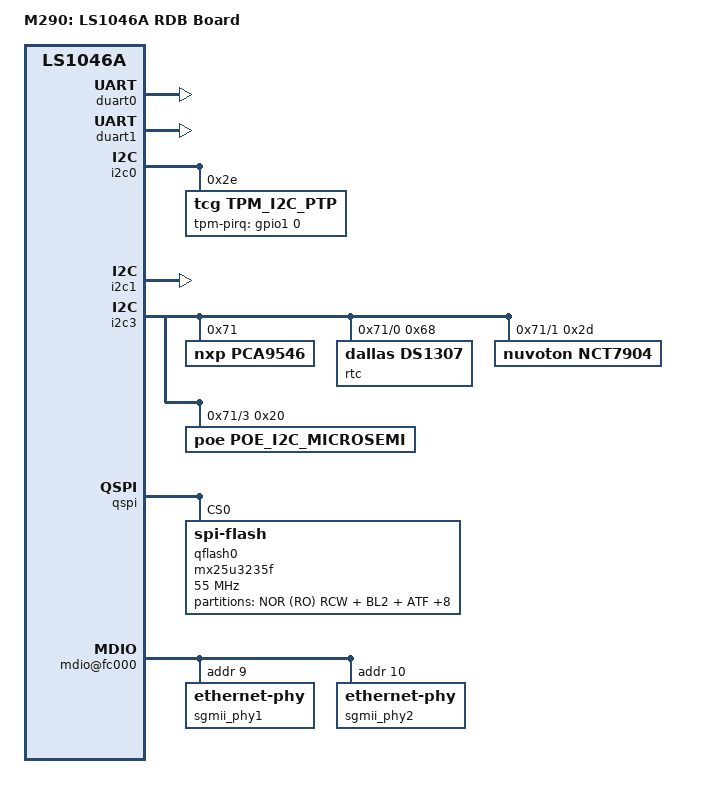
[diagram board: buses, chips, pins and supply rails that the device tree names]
// SPDX-License-Identifier: (GPL-2.0+ OR MIT)
/*
 * Device Tree Include file for Freescale Layerscape-1046A family SoC.
 *
 * Copyright 2016 Freescale Semiconductor, Inc.
 *
 * Mingkai Hu <mingkai.hu@nxp.com>
 */

/dts-v1/;

#include "fsl-ls1046a.dtsi"

/ {
	model = "M290: LS1046A RDB Board";
	compatible = "fsl,ls1046a-rdb", "fsl,ls1046a";

	aliases {
		serial0 = &duart0;
		serial1 = &duart1;
		serial2 = &duart2;
		serial3 = &duart3;
		spi0 = &qspi;
	};

	chosen {
		stdout-path = "serial0:115200n8";
	};
};

&duart0 {
	status = "okay";
};

&duart1 {
	status = "okay";
};

&esdhc {
	mmc-hs200-1_8v;
	sd-uhs-sdr104;
	sd-uhs-sdr50;
	sd-uhs-sdr25;
	sd-uhs-sdr12;
};

&i2c0 {
	status = "okay";
        tpm_i2c_ptp: tpm_i2c_ptp@2e {
            compatible = "tcg,tpm_i2c_ptp";
            reg = <0x2e>;
 	    tpm-pirq = <&gpio1 0 0>; //GPIO_ACTIVE_HIGH is 0
        };

#if 0
	ina220@40 {
		compatible = "ti,ina220";
		reg = <0x40>;
		shunt-resistor = <1000>;
	};

	temp-sensor@4c {
		compatible = "adi,adt7461";
		reg = <0x4c>;
	};

	eeprom@56 {
		compatible = "atmel,24c512";
		reg = <0x52>;
	};

	eeprom@57 {
		compatible = "atmel,24c512";
		reg = <0x53>;
	};
#endif
};
&i2c1 {
	status = "okay";
};

&i2c3 {
	status = "okay";

	pca9546@71 {
		compatible = "nxp,pca9546";
		reg = <0x71>;
		#address-cells = <1>;
		#size-cells = <0>;
		i2c-mux-never-disable;
		i2c@0 {
			#address-cells = <1>;
			#size-cells = <0>;
			reg = <0x00>;
			rtc@68 {
				compatible = "dallas,ds1307";
				reg = <0x68>;
			};
		};

		i2c@1 {
			#address-cells = <1>;
			#size-cells = <0>;
			reg = <0x01>;
			nct7904@2d {
            	compatible = "nuvoton,nct7904";
            	reg = <0x2d>;
			};
		};
#if 0
		i2c@2 {
			#address-cells = <1>;
			#size-cells = <0>;
			reg = <0x02>;
			tmp75@4a {
            	compatible = "ti,tmp75";
            	reg = <0x4a>;
			};
			tmp75@4b {
            	compatible = "ti,tmp75";
            	reg = <0x4b>;
			};
		};
#endif
		i2c@3 {
			#address-cells = <1>;
			#size-cells = <0>;
			reg = <0x03>;
			poe@20 {
            	compatible = "poe,poe_i2c_microsemi";
            	reg = <0x20>;
			};
		};
    };
};

#if 0
&ifc {
	#address-cells = <2>;
	#size-cells = <1>;
	/* NAND Flashe and CPLD on board */
	ranges = <0x0 0x0 0x0 0x7e800000 0x00010000
		  0x2 0x0 0x0 0x7fb00000 0x00000100>;
	status = "okay";

	nand@0,0 {
		compatible = "fsl,ifc-nand";
		#address-cells = <1>;
		#size-cells = <1>;
		reg = <0x0 0x0 0x10000>;
	};

	cpld: board-control@2,0 {
		compatible = "fsl,ls1046ardb-cpld";
		reg = <0x2 0x0 0x0000100>;
	};
};
#endif

&qspi {
        bus-num = <0>;
        status = "okay";

        qflash0: mx25u3235f@0 {
                #address-cells = <1>;
                #size-cells = <1>;
                compatible = "spi-flash";
                spi-max-frequency = <55000000>;
                reg = <0>;


                partition@rcw_atf {
                         /*1984 KB: RCW @ 0x0 | BL2 Image @ 0x9000 | ATF @ 0x100000 (RCW+BL2+ATF) */
                        reg = <0x0 0x1f0000>;
                        label = "NOR (RO) RCW + BL2 + ATF";
                };

                partition@dummy {
                         /*64 KB: allows NOT redoing not pkgspec, not bother ODM */
                        reg = <0x1f0000 0x10000>;
                        label = "NOR (RO) spare dummy";
                };

                partition@env {
                         /*64KB: u-boot ENV */
                        reg = <0x200000 0x10000>;
                        label = "NOR (RW) U-Boot ENV";
                };

                partition@Reserved0 {
                         /*64KB: Reserved */
                        label = "NOR (RW) Reserved-0";
                        reg = <0x210000 0x10000>;
                };

                partition@fman {
                         /*256KB: FMan ucode */
                        label = "NOR (RW) FMAN UCODE";
                        reg = <0x220000 0x40000>;
                };

/*
                partition@Reserved1 {
                         // 5760 KB: Reserved
                        label = "NOR (RW) Reserved-1";
                        reg = <0x260000 0x5a0000>;
                };
*/

                partition@WG-CFG0 {
                         /*128KB: WG CFG0 */
                        reg = <0x260000 0x20000>;
                        label = "NOR (RW) WG CFG0";
                };

                partition@WG-CFG1 {
                         /*128KB: WG CFG1 */
                        reg = <0x280000 0x20000>;
                        label = "NOR (RW) WG CFG1";
                };

                partition@WG-MFG {
                         /*128KB: WG MFG */
                        reg = <0x2a0000 0x20000>;
                        label = "NOR (RW) WG MFG";
                };

                partition@WG-bootOpt {
                        /* (5 MB+256 KB): WG bootOpt Data & reserved (end of Flash) */
                        reg = <0x2c0000 0x540000>;
                        label = "NOR (RW) WG bootOpt Data & reserved";
                };
        };
};

#include "fsl-ls1046-post.dtsi"

&fman0 {

	ethernet@e0000 {
		status = "disabled";
	};
	ethernet@e2000 {
		status = "disabled";
	};
	ethernet@e4000 {
		status = "disabled";
	};
	ethernet@e6000 {
		status = "disabled";
	};
	ethernet@e8000 {
		status = "disabled";
	};
	ethernet@ea000 {
		status = "disabled";
	};
	ethernet@ec000 {
		status = "disabled";
	};
	ethernet@ee000 {
		status = "disabled";
	};

	ethernet@f0000 { /* 2.5GEC1 */
		fixed-link = <0 1 1000 0 0>;
		phy-connection-type = "sgmii-2500";
		phy-mode = "sgmii-2500";
	};

	ethernet@f2000 { /* 2.5GEC2 */
		fixed-link = <0 1 1000 0 0>;
		phy-connection-type = "sgmii-2500";
		phy-mode = "sgmii-2500";
	};

	mdio@fc000 {
		compatible = "fsl,fman-xmdio";
		reg = <0xfc000 0x1000>;
		sgmii_phy1: ethernet-phy@9 {
			reg = <0x9>;
		};
		sgmii_phy2: ethernet-phy@10 {
			reg = <0xa>;
		};
	};
};
